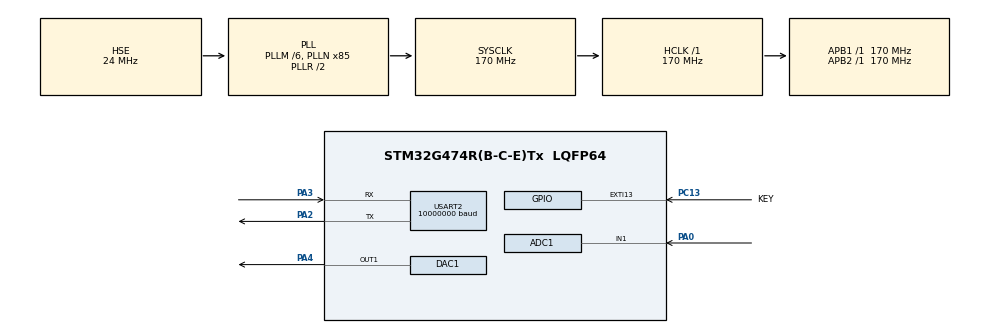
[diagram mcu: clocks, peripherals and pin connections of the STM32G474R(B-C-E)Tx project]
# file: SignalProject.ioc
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Mcu.Family=STM32G4
NVIC.ADC1_2_IRQn=true\:1\:0\:true\:false\:true\:true\:true
PA2.GPIO_PuPd=GPIO_PULLUP
RCC.CortexFreq_Value=170000000
Dma.DAC1_CH1.0.Priority=DMA_PRIORITY_LOW
Dma.ADC1.1.MemDataAlignment=DMA_MDATAALIGN_HALFWORD
Dma.ADC1.1.SyncEnable=DISABLE
PA3.GPIO_PuPd=GPIO_PULLUP
DAC1.DAC_Trigger_OUT1-DAC_OUT1=DAC_TRIGGER_T4_TRGO
PC13.GPIO_Label=KEY
TIM4.TIM_MasterOutputTrigger=TIM_TRGO_UPDATE
RCC.SYSCLKSource=RCC_SYSCLKSOURCE_PLLCLK
ProjectManager.StackSize=0x400
Dma.DAC1_CH1.0.SyncPolarity=HAL_DMAMUX_SYNC_NO_EVENT
Dma.ADC1.1.Instance=DMA1_Channel2
Dma.ADC1.1.SyncPolarity=HAL_DMAMUX_SYNC_NO_EVENT
RCC.HCLKFreq_Value=170000000
Dma.DAC1_CH1.0.EventEnable=DISABLE
RCC.APB2TimFreq_Value=170000000
Dma.ADC1.1.PeriphDataAlignment=DMA_PDATAALIGN_HALFWORD
RCC.AHBFreq_Value=170000000
NVIC.EXTI15_10_IRQn=true\:4\:0\:true\:false\:true\:true\:true
ADC1.Channel-0\#ChannelRegularConversion=ADC_CHANNEL_1
RCC.HSE_VALUE=24000000
Dma.DAC1_CH1.0.SignalID=NONE
USART2.VirtualMode-Asynchronous=VM_ASYNC
RCC.ADC12Freq_Value=34000000
PA14.Mode=Serial_Wire
TIM3.Prescaler=169
Dma.DAC1_CH1.0.Mode=DMA_CIRCULAR
PA0.Mode=IN1-Single-Ended
Dma.ADC1.1.Priority=DMA_PRIORITY_LOW
PC13.GPIO_PuPd=GPIO_PULLDOWN
VP_SYS_VS_DBSignals.Mode=DisableDeadBatterySignals
Dma.ADC1.1.Mode=DMA_CIRCULAR
ADC1.SamplingTime-0\#ChannelRegularConversion=ADC_SAMPLETIME_2CYCLES_5
PA0.Signal=ADC1_IN1
Mcu.Package=LQFP64
Dma.ADC1.1.Direction=DMA_PERIPH_TO_MEMORY
Dma.ADC1.1.MemInc=DMA_MINC_ENABLE
TIM3.PeriodNoDither=9
Dma.DAC1_CH1.0.Instance=DMA1_Channel1
Dma.Request1=ADC1
RCC.APB1TimFreq_Value=170000000
PF1-OSC_OUT.Mode=HSE-External-Oscillator
Dma.Request0=DAC1_CH1
VP_TIM3_VS_ClockSourceINT.Mode=Internal
Dma.DAC1_CH1.0.PeriphInc=DMA_PINC_DISABLE
PF1-OSC_OUT.Signal=RCC_OSC_OUT
RCC.HSI48_VALUE=48000000
Dma.ADC1.1.SignalID=NONE
PA3.Signal=USART2_RX
RCC.PLLSourceVirtual=RCC_PLLSOURCE_HSE
ADC1.Rank-0\#ChannelRegularConversion=1
Dma.ADC1.1.SyncSignalID=NONE
ADC1.OffsetNumber-0\#ChannelRegularConversion=ADC_OFFSET_NONE
PC13.Signal=GPXTI13
Dma.ADC1.1.RequestNumber=1
TIM4.PeriodNoDither=249
RCC.EXTERNAL_CLOCK_VALUE=12288000
USART2.BaudRate=10000000
PA13.Signal=SYS_JTMS-SWDIO
PA3.Mode=Asynchronous
NVIC.DMA1_Channel2_IRQn=true\:0\:0\:false\:false\:true\:false\:true
ProjectManager.TargetToolchain=STM32CubeIDE
SH.COMP_DAC11_group.0=DAC1_OUT1,DAC_OUT1
RCC.USBFreq_Value=170000000
Dma.ADC1.1.Polarity=HAL_DMAMUX_REQ_GEN_RISING
TIM4.Prescaler=169
RCC.LSE_VALUE=32768
PF0-OSC_IN.Mode=HSE-External-Oscillator
Dma.ADC1.1.SyncRequestNumber=1
Dma.DAC1_CH1.0.MemDataAlignment=DMA_MDATAALIGN_HALFWORD
board=custom
RCC.VCOOutputFreq_Value=340000000
RCC.ADC345Freq_Value=170000000
RCC.APB2Freq_Value=170000000
Dma.DAC1_CH1.0.PeriphDataAlignment=DMA_PDATAALIGN_WORD
Dma.ADC1.1.PeriphInc=DMA_PINC_DISABLE
ADC1.DMAContinuousRequests=ENABLE
Dma.DAC1_CH1.0.MemInc=DMA_MINC_ENABLE
PA13.Mode=Serial_Wire
Mcu.Name=STM32G474R(B-C-E)Tx
Dma.DAC1_CH1.0.SyncEnable=DISABLE
PA2.Signal=USART2_TX
ADC1.ExternalTrigConv=ADC_EXTERNALTRIG_T3_TRGO
PA4.Signal=COMP_DAC11_group
RCC.SYSCLKFreq_VALUE=170000000
ADC1.master=1
DAC1.DAC_OutputBuffer-DAC_OUT1=DAC_OUTPUTBUFFER_DISABLE
RCC.ADC12CLockSelection=RCC_ADC12CLKSOURCE_PLL
PA14.Signal=SYS_JTCK-SWCLK
ProjectManager.HeapSize=0x200
RCC.HSI_VALUE=16000000
VP_TIM4_VS_ClockSourceINT.Mode=Internal
RCC.PLLP=RCC_PLLP_DIV10
NVIC.PriorityGroup=NVIC_PRIORITYGROUP_4
ADC1.NbrOfConversionFlag=1
RCC.PLLM=RCC_PLLM_DIV6
RCC.PLLN=85
PA2.Mode=Asynchronous
Dma.DAC1_CH1.0.SyncRequestNumber=1
NVIC.DMA1_Channel1_IRQn=true\:0\:0\:false\:false\:true\:false\:true
PF0-OSC_IN.Signal=RCC_OSC_IN
Dma.DAC1_CH1.0.SyncSignalID=NONE
TIM3.TIM_MasterOutputTrigger=TIM_TRGO_UPDATE
Dma.ADC1.1.EventEnable=DISABLE
RCC.APB1Freq_Value=170000000
ADC1.ClockPrescaler=ADC_CLOCK_ASYNC_DIV1
Dma.DAC1_CH1.0.Direction=DMA_MEMORY_TO_PERIPH
Dma.DAC1_CH1.0.Polarity=HAL_DMAMUX_REQ_GEN_RISING
Dma.DAC1_CH1.0.RequestNumber=1

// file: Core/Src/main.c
/* USER CODE BEGIN Header */
/**
  ******************************************************************************
  * @file           : main.c
  * @brief          : Main program body
  ******************************************************************************
  * @attention
  *
  * <h2><center>&copy; Copyright (c) 2022 STMicroelectronics.
  * All rights reserved.</center></h2>
  *
  * This software component is licensed by ST under BSD 3-Clause license,
  * the "License"; You may not use this file except in compliance with the
  * License. You may obtain a copy of the License at:
  *                        opensource.org/licenses/BSD-3-Clause
  *
  ******************************************************************************
  */
/* USER CODE END Header */
#include "main.h"

/* USER CODE BEGIN PD */
//#define ADC_CONVERTED_DATA_BUFFER_SIZE (uint16_t) 60

#define ADC_CONVERTED_DATA_BUFFER_SIZE (uint16_t) 2000

//#define DAC_BUFFER_SIZE (uint16_t) 50
#define DAC_BUFFER_SIZE (uint16_t) 200

#define SINE_MODE 0
#define SQUARE_MODE 1
#define TRIANGLE_MODE 2
#define MODE_NUM 3

/* USER CODE END PD */

ADC_HandleTypeDef hadc1;
DMA_HandleTypeDef hdma_adc1;

DAC_HandleTypeDef hdac1;
DMA_HandleTypeDef hdma_dac1_ch1;

TIM_HandleTypeDef htim3;
TIM_HandleTypeDef htim4;

UART_HandleTypeDef huart2;

/* USER CODE BEGIN PV */
//uint16_t SineWaveData[DAC_BUFFER_SIZE] = {2047,2304,2557,2801,3034,3251,3449,3625,3776,3900,3994,4058,4090,4090,
//		4058,3994,3900,3776,3625,3449,3251,3034,2801,2557,2304,2048,1791,1538,1294,
//		1061,844,646,470,319,195,101,37,5,5,37,101,195,319,470,646,844,1061,1294,1538, 1791};

//uint16_t SineWaveData[DAC_BUFFER_SIZE] = {
//2047,2112,2176,2240,2304,2368,2431,2494,2557,2619,2680,2741,2801,2860,2919,2977,3034,3090,3144,3198,
//3251,3302,3352,3401,3449,3495,3540,3583,3625,3665,3704,3741,3776,3809,3841,3871,3900,3926,3951,3973,
//3994,4013,4030,4045,4058,4069,4078,4085,4090,4093,4094,4093,4090,4085,4078,4069,4058,4045,4030,4013,
//3994,3973,3951,3926,3900,3871,3841,3809,3776,3741,3704,3665,3625,3583,3540,3495,3449,3401,3352,3302,
//3251,3198,3144,3090,3034,2977,2919,2860,2801,2741,2680,2619,2557,2494,2431,2368,2304,2240,2176,2112,
//2048,1983,1919,1855,1791,1727,1664,1601,1538,1476,1415,1354,1294,1235,1176,1118,1061,1005,951,897,844,
//793,743,694,646,600,555,512,470,430,391,354,319,286,254,224,195,169,144,122,101,82,65,50,37,26,17,10,
//5,2,0,2,5,10,17,26,37,50,65,82,101,122,144,169,195,224,254,286,319,354,391,430,470,512,555,600,646,694,
//743,793,844,897,951,1005,1061,1118,1176,1235,1294,1354,1415,1476,1538,1601,1664,1727,1791,1855,1919,1983
//};

//uint16_t NoneData[DAC_BUFFER_SIZE] = {0};

uint16_t Sine1WaveData[DAC_BUFFER_SIZE] = {
		2047,2112,2176,2240,2304,2368,2431,2494,2557,2619,2680,2741,2801,2860,2919,2977,3034,3090,3144,3198,3251,3302,3352,3401,3449,3495,3540,3583,3625,3665,3704,3741,3776,3809,3841,3871,3900,3926,3951,3973,3994,4013,4030,4045,4058,4069,4078,4085,4090,4093,4094,4093,4090,4085,4078,4069,4058,4045,4030,4013,3994,3973,3951,3926,3900,3871,3841,3809,3776,3741,3704,3665,3625,3583,3540,3495,3449,3401,3352,3302,3251,3198,3144,3090,3034,2977,2919,2860,2801,2741,2680,2619,2557,2494,2431,2368,2304,2240,2176,2112,2048,1983,1919,1855,1791,1727,1664,1601,1538,1476,1415,1354,1294,1235,1176,1118,1061,1005,951,897,844,793,743,694,646,600,555,512,470,430,391,354,319,286,254,224,195,169,144,122,101,82,65,50,37,26,17,10,5,2,0,2,5,10,17,26,37,50,65,82,101,122,144,169,195,224,254,286,319,354,391,430,470,512,555,600,646,694,743,793,844,897,951,1005,1061,1118,1176,1235,1294,1354,1415,1476,1538,1601,1664,1727,1791,1855,1919,1983
};

uint16_t SquareWaveData[DAC_BUFFER_SIZE] = {
		4094,4094,4094,4094,4094,4094,4094,4094,4094,4094,4094,4094,4094,4094,4094,4094,4094,4094,4094,4094,4094,4094,4094,4094,4094,4094,4094,4094,4094,4094,4094,4094,4094,4094,4094,4094,4094,4094,4094,4094,4094,4094,4094,4094,4094,4094,4094,4094,4094,4094,4094,4094,4094,4094,4094,4094,4094,4094,4094,4094,4094,4094,4094,4094,4094,4094,4094,4094,4094,4094,4094,4094,4094,4094,4094,4094,4094,4094,4094,4094,4094,4094,4094,4094,4094,4094,4094,4094,4094,4094,4094,4094,4094,4094,4094,4094,4094,4094,4094,4094,0,0,0,0,0,0,0,0,0,0,0,0,0,0,0,0,0,0,0,0,0,0,0,0,0,0,0,0,0,0,0,0,0,0,0,0,0,0,0,0,0,0,0,0,0,0,0,0,0,0,0,0,0,0,0,0,0,0,0,0,0,0,0,0,0,0,0,0,0,0,0,0,0,0,0,0,0,0,0,0,0,0,0,0,0,0,0,0,0,0,0,0,0,0,0,0,0,0,0,0
};

uint16_t TriangleWaveData[DAC_BUFFER_SIZE] = {
		2047,2089,2131,2172,2214,2256,2298,2339,2381,2423,2465,2507,2548,2590,2632,2674,2715,2757,2799,2841,2883,2924,2966,3008,3050,3091,3133,3175,3217,3258,3300,3342,3384,3426,3467,3509,3551,3593,3634,3676,3718,3760,3802,3843,3885,3927,3969,4010,4052,4094,4094,4052,4010,3969,3927,3885,3843,3802,3760,3718,3676,3634,3593,3551,3509,3467,3426,3384,3342,3300,3258,3217,3175,3133,3091,3050,3008,2966,2924,2883,2841,2799,2757,2715,2674,2632,2590,2548,2507,2465,2423,2381,2339,2298,2256,2214,2172,2131,2089,2047,2047,2005,1963,1922,1880,1838,1796,1755,1713,1671,1629,1587,1546,1504,1462,1420,1379,1337,1295,1253,1211,1170,1128,1086,1044,1003,961,919,877,836,794,752,710,668,627,585,543,501,460,418,376,334,292,251,209,167,125,84,42,0,0,42,84,125,167,209,251,292,334,376,418,460,501,543,585,627,668,710,752,794,836,877,919,961,1003,1044,1086,1128,1170,1211,1253,1295,1337,1379,1420,1462,1504,1546,1587,1629,1671,1713,1755,1796,1838,1880,1922,1963,2005,2047
};

//uint16_t (*waveDatas)[3] = {Sine1WaveData, SquareWaveData, TriangleWaveData};

//uint16_t HarmonicSineWaveData[DAC_BUFFER_SIZE] = {
//		2047,2147,2246,2344,2441,2536,2629,2718,2805,2888,2968,3043,3113,3179,3240,3296,3347,3393,3433,
//		3467,3497,3521,3540,3554,3563,3567,3567,3564,3556,3545,3530,3514,3494,3473,3450,3427,3402,3377,
//		3352,3328,3304,3282,3261,3241,3224,3209,3196,3186,3179,3175,3173,3175,3179,3186,3196,3209,3224,
//		3241,3261,3282,3304,3328,3352,3377,3402,3427,3450,3473,3494,3514,3530,3545,3556,3564,3567,3567,
//		3563,3554,3540,3521,3497,3467,3433,3393,3347,3296,3240,3179,3113,3043,2968,2888,2805,2718,2629,
//		2536,2441,2344,2246,2147,2048,1948,1849,1751,1654,1559,1466,1377,1290,1207,1127,1052,982,916,855,
//		799,748,702,662,628,598,574,555,541,532,528,528,531,539,550,565,581,601,622,645,668,693,718,743,767,
//		791,813,834,854,871,886,899,909,916,920,922,920,916,909,899,886,871,854,834,813,791,767,743,718,693,668,
//		645,622,601,581,565,550,539,531,528,528,532,541,555,574,598,628,662,702,748,799,855,916,982,1052,1127,
//		1207,1290,1377,1466,1559,1654,1751,1849,1948
//};

uint16_t ADC1ConvertedData[ADC_CONVERTED_DATA_BUFFER_SIZE];
uint16_t FrameHeader = 0x5353;
uint16_t FrameTerm = 0x4545;

uint16_t mode = SINE_MODE;

/* USER CODE END PV */

void SystemClock_Config(void);
static void MX_GPIO_Init(void);
static void MX_DMA_Init(void);
static void MX_DAC1_Init(void);
static void MX_ADC1_Init(void);
static void MX_TIM3_Init(void);
static void MX_TIM4_Init(void);
static void MX_USART2_UART_Init(void);

int main(void)
{

  /* MCU Configuration--------------------------------------------------------*/

  /* Reset of all peripherals, Initializes the Flash interface and the Systick. */
  HAL_Init();

  /* Configure the system clock */
  SystemClock_Config();

  /* Initialize all configured peripherals */
  MX_GPIO_Init();
  MX_DMA_Init();
  MX_DAC1_Init();
  MX_ADC1_Init();
  MX_TIM3_Init();
  MX_TIM4_Init();
  MX_USART2_UART_Init();
  /* USER CODE BEGIN 2 */

  HAL_TIM_Base_Start(&htim3);
  HAL_TIM_Base_Start(&htim4);
  HAL_DAC_Start_DMA(&hdac1, DAC_CHANNEL_1,(uint32_t *)Sine1WaveData,DAC_BUFFER_SIZE,DAC_ALIGN_12B_R);
  HAL_ADCEx_Calibration_Start(&hadc1, ADC_SINGLE_ENDED);
  HAL_ADC_Start_DMA(&hadc1,(uint32_t *)&ADC1ConvertedData,ADC_CONVERTED_DATA_BUFFER_SIZE);
  /* USER CODE END 2 */

  /* Infinite loop */
  while (1)
  {

    /* USER CODE BEGIN 3 */
//	 switch(mode){
//	 case SINE_MODE:{
//
//		 HAL_DAC_Start_DMA(&hdac1, DAC_CHANNEL_1,(uint32_t *)SineWaveData,DAC_BUFFER_SIZE,DAC_ALIGN_12B_R);
//		 break;
//	 }
//	 case SQUARE_MODE:{
//		 HAL_DAC_Start_DMA(&hdac1, DAC_CHANNEL_1,(uint32_t *)SquareWaveData,DAC_BUFFER_SIZE,DAC_ALIGN_12B_R);
//		 break;
//	 }
//	 case TRIANGLE_MODE:{
//		 HAL_DAC_Start_DMA(&hdac1, DAC_CHANNEL_1,(uint32_t *)TriangleWaveData,DAC_BUFFER_SIZE,DAC_ALIGN_12B_R);
//		 break;
//	 }
//	 }
  }
  /* USER CODE END 3 */
}

void SystemClock_Config(void)
{
  RCC_OscInitTypeDef RCC_OscInitStruct = {0};
  RCC_ClkInitTypeDef RCC_ClkInitStruct = {0};
  RCC_PeriphCLKInitTypeDef PeriphClkInit = {0};

  /** Configure the main internal regulator output voltage
  */
  HAL_PWREx_ControlVoltageScaling(PWR_REGULATOR_VOLTAGE_SCALE1_BOOST);
  /** Initializes the RCC Oscillators according to the specified parameters
  * in the RCC_OscInitTypeDef structure.
  */
  RCC_OscInitStruct.OscillatorType = RCC_OSCILLATORTYPE_HSE;
  RCC_OscInitStruct.HSEState = RCC_HSE_ON;
  RCC_OscInitStruct.PLL.PLLState = RCC_PLL_ON;
  RCC_OscInitStruct.PLL.PLLSource = RCC_PLLSOURCE_HSE;
  RCC_OscInitStruct.PLL.PLLM = RCC_PLLM_DIV6;
  RCC_OscInitStruct.PLL.PLLN = 85;
  RCC_OscInitStruct.PLL.PLLP = RCC_PLLP_DIV10;
  RCC_OscInitStruct.PLL.PLLQ = RCC_PLLQ_DIV2;
  RCC_OscInitStruct.PLL.PLLR = RCC_PLLR_DIV2;
  if (HAL_RCC_OscConfig(&RCC_OscInitStruct) != HAL_OK)
  {
    Error_Handler();
  }
  /** Initializes the CPU, AHB and APB buses clocks
  */
  RCC_ClkInitStruct.ClockType = RCC_CLOCKTYPE_HCLK|RCC_CLOCKTYPE_SYSCLK
                              |RCC_CLOCKTYPE_PCLK1|RCC_CLOCKTYPE_PCLK2;
  RCC_ClkInitStruct.SYSCLKSource = RCC_SYSCLKSOURCE_PLLCLK;
  RCC_ClkInitStruct.AHBCLKDivider = RCC_SYSCLK_DIV1;
  RCC_ClkInitStruct.APB1CLKDivider = RCC_HCLK_DIV1;
  RCC_ClkInitStruct.APB2CLKDivider = RCC_HCLK_DIV1;

  if (HAL_RCC_ClockConfig(&RCC_ClkInitStruct, FLASH_LATENCY_4) != HAL_OK)
  {
    Error_Handler();
  }
  /** Initializes the peripherals clocks
  */
  PeriphClkInit.PeriphClockSelection = RCC_PERIPHCLK_USART2|RCC_PERIPHCLK_ADC12;
  PeriphClkInit.Usart2ClockSelection = RCC_USART2CLKSOURCE_PCLK1;
  PeriphClkInit.Adc12ClockSelection = RCC_ADC12CLKSOURCE_PLL;
  if (HAL_RCCEx_PeriphCLKConfig(&PeriphClkInit) != HAL_OK)
  {
    Error_Handler();
  }
}

static void MX_ADC1_Init(void)
{

  ADC_MultiModeTypeDef multimode = {0};
  ADC_ChannelConfTypeDef sConfig = {0};

  /** Common config
  */
  hadc1.Instance = ADC1;
  hadc1.Init.ClockPrescaler = ADC_CLOCK_ASYNC_DIV1;
  hadc1.Init.Resolution = ADC_RESOLUTION_12B;
  hadc1.Init.DataAlign = ADC_DATAALIGN_RIGHT;
  hadc1.Init.GainCompensation = 0;
  hadc1.Init.ScanConvMode = ADC_SCAN_DISABLE;
  hadc1.Init.EOCSelection = ADC_EOC_SINGLE_CONV;
  hadc1.Init.LowPowerAutoWait = DISABLE;
  hadc1.Init.ContinuousConvMode = DISABLE;
  hadc1.Init.NbrOfConversion = 1;
  hadc1.Init.DiscontinuousConvMode = DISABLE;
  hadc1.Init.ExternalTrigConv = ADC_EXTERNALTRIG_T3_TRGO;
  hadc1.Init.ExternalTrigConvEdge = ADC_EXTERNALTRIGCONVEDGE_RISING;
  hadc1.Init.DMAContinuousRequests = ENABLE;
  hadc1.Init.Overrun = ADC_OVR_DATA_PRESERVED;
  hadc1.Init.OversamplingMode = DISABLE;
  if (HAL_ADC_Init(&hadc1) != HAL_OK)
  {
    Error_Handler();
  }
  /** Configure the ADC multi-mode
  */
  multimode.Mode = ADC_MODE_INDEPENDENT;
  if (HAL_ADCEx_MultiModeConfigChannel(&hadc1, &multimode) != HAL_OK)
  {
    Error_Handler();
  }
  /** Configure Regular Channel
  */
  sConfig.Channel = ADC_CHANNEL_1;
  sConfig.Rank = ADC_REGULAR_RANK_1;
  sConfig.SamplingTime = ADC_SAMPLETIME_2CYCLES_5;
  sConfig.SingleDiff = ADC_SINGLE_ENDED;
  sConfig.OffsetNumber = ADC_OFFSET_NONE;
  sConfig.Offset = 0;
  if (HAL_ADC_ConfigChannel(&hadc1, &sConfig) != HAL_OK)
  {
    Error_Handler();
  }

}

static void MX_DAC1_Init(void)
{

  DAC_ChannelConfTypeDef sConfig = {0};

  /** DAC Initialization
  */
  hdac1.Instance = DAC1;
  if (HAL_DAC_Init(&hdac1) != HAL_OK)
  {
    Error_Handler();
  }
  /** DAC channel OUT1 config
  */
  sConfig.DAC_HighFrequency = DAC_HIGH_FREQUENCY_INTERFACE_MODE_AUTOMATIC;
  sConfig.DAC_DMADoubleDataMode = DISABLE;
  sConfig.DAC_SignedFormat = DISABLE;
  sConfig.DAC_SampleAndHold = DAC_SAMPLEANDHOLD_DISABLE;
  sConfig.DAC_Trigger = DAC_TRIGGER_T4_TRGO;
  sConfig.DAC_Trigger2 = DAC_TRIGGER_NONE;
  sConfig.DAC_OutputBuffer = DAC_OUTPUTBUFFER_DISABLE;
  sConfig.DAC_ConnectOnChipPeripheral = DAC_CHIPCONNECT_EXTERNAL;
  sConfig.DAC_UserTrimming = DAC_TRIMMING_FACTORY;
  if (HAL_DAC_ConfigChannel(&hdac1, &sConfig, DAC_CHANNEL_1) != HAL_OK)
  {
    Error_Handler();
  }

}

static void MX_TIM3_Init(void)
{

  TIM_ClockConfigTypeDef sClockSourceConfig = {0};
  TIM_MasterConfigTypeDef sMasterConfig = {0};

  htim3.Instance = TIM3;
  htim3.Init.Prescaler = 169;
  htim3.Init.CounterMode = TIM_COUNTERMODE_UP;
  htim3.Init.Period = 9;
  htim3.Init.ClockDivision = TIM_CLOCKDIVISION_DIV1;
  htim3.Init.AutoReloadPreload = TIM_AUTORELOAD_PRELOAD_DISABLE;
  if (HAL_TIM_Base_Init(&htim3) != HAL_OK)
  {
    Error_Handler();
  }
  sClockSourceConfig.ClockSource = TIM_CLOCKSOURCE_INTERNAL;
  if (HAL_TIM_ConfigClockSource(&htim3, &sClockSourceConfig) != HAL_OK)
  {
    Error_Handler();
  }
  sMasterConfig.MasterOutputTrigger = TIM_TRGO_UPDATE;
  sMasterConfig.MasterSlaveMode = TIM_MASTERSLAVEMODE_DISABLE;
  if (HAL_TIMEx_MasterConfigSynchronization(&htim3, &sMasterConfig) != HAL_OK)
  {
    Error_Handler();
  }

}

static void MX_TIM4_Init(void)
{

  TIM_ClockConfigTypeDef sClockSourceConfig = {0};
  TIM_MasterConfigTypeDef sMasterConfig = {0};

  htim4.Instance = TIM4;
  htim4.Init.Prescaler = 169;
  htim4.Init.CounterMode = TIM_COUNTERMODE_UP;
  htim4.Init.Period = 249;
  htim4.Init.ClockDivision = TIM_CLOCKDIVISION_DIV1;
  htim4.Init.AutoReloadPreload = TIM_AUTORELOAD_PRELOAD_DISABLE;
  if (HAL_TIM_Base_Init(&htim4) != HAL_OK)
  {
    Error_Handler();
  }
  sClockSourceConfig.ClockSource = TIM_CLOCKSOURCE_INTERNAL;
  if (HAL_TIM_ConfigClockSource(&htim4, &sClockSourceConfig) != HAL_OK)
  {
    Error_Handler();
  }
  sMasterConfig.MasterOutputTrigger = TIM_TRGO_UPDATE;
  sMasterConfig.MasterSlaveMode = TIM_MASTERSLAVEMODE_DISABLE;
  if (HAL_TIMEx_MasterConfigSynchronization(&htim4, &sMasterConfig) != HAL_OK)
  {
    Error_Handler();
  }

}

static void MX_USART2_UART_Init(void)
{

  huart2.Instance = USART2;
  huart2.Init.BaudRate = 10000000;
  huart2.Init.WordLength = UART_WORDLENGTH_8B;
  huart2.Init.StopBits = UART_STOPBITS_1;
  huart2.Init.Parity = UART_PARITY_NONE;
  huart2.Init.Mode = UART_MODE_TX_RX;
  huart2.Init.HwFlowCtl = UART_HWCONTROL_NONE;
  huart2.Init.OverSampling = UART_OVERSAMPLING_16;
  huart2.Init.OneBitSampling = UART_ONE_BIT_SAMPLE_DISABLE;
  huart2.Init.ClockPrescaler = UART_PRESCALER_DIV1;
  huart2.AdvancedInit.AdvFeatureInit = UART_ADVFEATURE_NO_INIT;
  if (HAL_UART_Init(&huart2) != HAL_OK)
  {
    Error_Handler();
  }
  if (HAL_UARTEx_SetTxFifoThreshold(&huart2, UART_TXFIFO_THRESHOLD_1_8) != HAL_OK)
  {
    Error_Handler();
  }
  if (HAL_UARTEx_SetRxFifoThreshold(&huart2, UART_RXFIFO_THRESHOLD_1_8) != HAL_OK)
  {
    Error_Handler();
  }
  if (HAL_UARTEx_DisableFifoMode(&huart2) != HAL_OK)
  {
    Error_Handler();
  }

}

static void MX_DMA_Init(void)
{

  /* DMA controller clock enable */
  __HAL_RCC_DMAMUX1_CLK_ENABLE();
  __HAL_RCC_DMA1_CLK_ENABLE();

  /* DMA interrupt init */
  /* DMA1_Channel1_IRQn interrupt configuration */
  HAL_NVIC_SetPriority(DMA1_Channel1_IRQn, 0, 0);
  HAL_NVIC_EnableIRQ(DMA1_Channel1_IRQn);
  /* DMA1_Channel2_IRQn interrupt configuration */
  HAL_NVIC_SetPriority(DMA1_Channel2_IRQn, 0, 0);
  HAL_NVIC_EnableIRQ(DMA1_Channel2_IRQn);

}

static void MX_GPIO_Init(void)
{
  GPIO_InitTypeDef GPIO_InitStruct = {0};

  /* GPIO Ports Clock Enable */
  __HAL_RCC_GPIOC_CLK_ENABLE();
  __HAL_RCC_GPIOF_CLK_ENABLE();
  __HAL_RCC_GPIOA_CLK_ENABLE();

  /*Configure GPIO pin : KEY_Pin */
  GPIO_InitStruct.Pin = KEY_Pin;
  GPIO_InitStruct.Mode = GPIO_MODE_IT_RISING;
  GPIO_InitStruct.Pull = GPIO_PULLDOWN;
  HAL_GPIO_Init(KEY_GPIO_Port, &GPIO_InitStruct);

  /* EXTI interrupt init*/
  HAL_NVIC_SetPriority(EXTI15_10_IRQn, 4, 0);
  HAL_NVIC_EnableIRQ(EXTI15_10_IRQn);

}

/* USER CODE BEGIN 4 */
void HAL_ADC_ConvCpltCallback(ADC_HandleTypeDef* AdcHandle)
{
	HAL_UART_Transmit(&huart2, (uint8_t *)&FrameHeader,2, 0xFFFF);
	HAL_UART_Transmit(&huart2, (uint8_t *)&ADC1ConvertedData,
	ADC_CONVERTED_DATA_BUFFER_SIZE*2, 0xFFFF);
	HAL_UART_Transmit(&huart2, (uint8_t *)&FrameTerm,2, 0xFFFF);
}

void HAL_GPIO_EXTI_Callback(uint16_t GPIO_Pin)
{
	HAL_Delay(10);
	if (GPIO_Pin == KEY_Pin){
		mode = (mode + 1) % MODE_NUM;
		HAL_DAC_Stop_DMA(&hdac1, DAC1_CHANNEL_1);

		switch(mode){
			 case SINE_MODE:{
				 HAL_DAC_Start_DMA(&hdac1, DAC_CHANNEL_1,(uint32_t *)Sine1WaveData,DAC_BUFFER_SIZE,DAC_ALIGN_12B_R);
				 break;
			 }
			 case SQUARE_MODE:{
				 HAL_DAC_Start_DMA(&hdac1, DAC_CHANNEL_1,(uint32_t *)SquareWaveData,DAC_BUFFER_SIZE,DAC_ALIGN_12B_R);
				 break;
			 }
			 case TRIANGLE_MODE:{
				 HAL_DAC_Start_DMA(&hdac1, DAC_CHANNEL_1,(uint32_t *)TriangleWaveData,DAC_BUFFER_SIZE,DAC_ALIGN_12B_R);
				 break;
			 }
		}
	}
}

/* USER CODE END 4 */

void Error_Handler(void)
{
  __disable_irq();
  while (1)
  {
  }
}

/************************ (C) COPYRIGHT STMicroelectronics *****END OF FILE****/
